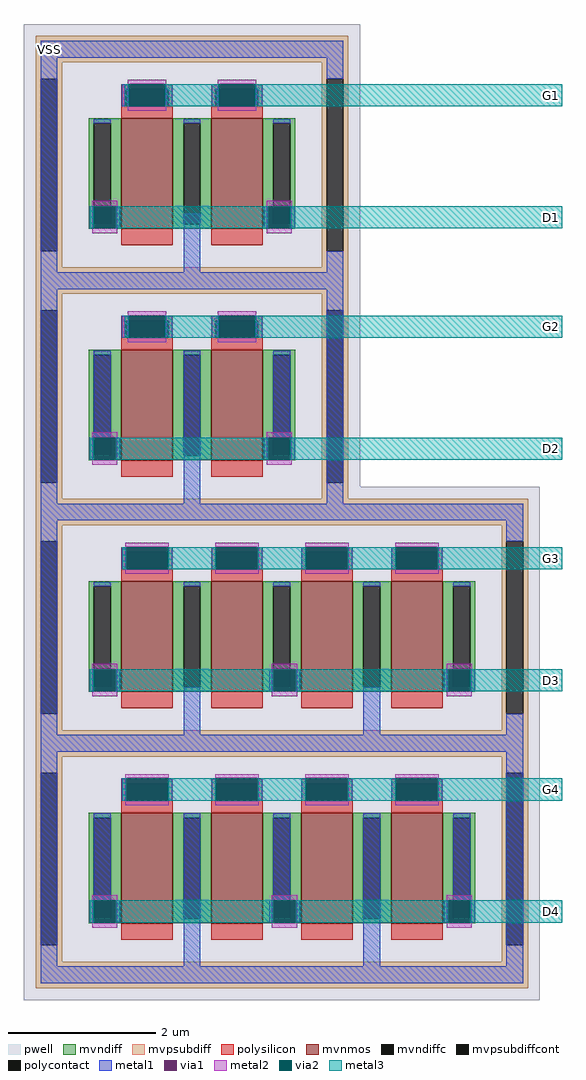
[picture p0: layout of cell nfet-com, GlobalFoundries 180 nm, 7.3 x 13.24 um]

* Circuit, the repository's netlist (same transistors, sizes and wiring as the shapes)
** sch_path: /foss/designs/sscs-chipathon2025-LNA/designs/libs/core_single-fet/nfet-com/nfet-com.sch
.subckt nfet-com D1 G1 D2 G2 D3 G3 D4 G4 VSS
*.PININFO VSS:B D1:B G1:B D2:B G2:B D3:B G3:B D4:B G4:B
M21 D2 G2 VSS VSS nfet_06v0 L=0.70u W=1.50u nf=1 m=2
M22 D1 G1 VSS VSS nfet_06v0 L=0.70u W=1.50u nf=1 m=2
M23 D4 G4 VSS VSS nfet_06v0 L=0.70u W=1.50u nf=1 m=4
M24 D3 G3 VSS VSS nfet_06v0 L=0.70u W=1.50u nf=1 m=4
.ends

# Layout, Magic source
magic
tech gf180mcuD
magscale 1 10
<< metal1 >>
rect -675 47 -629 675
rect -454 497 -436 557
rect -336 497 -318 557
rect -210 497 -192 557
rect -92 497 -74 557
rect -543 166 -531 226
rect -471 166 -459 226
rect -287 47 -241 205
rect -69 166 -57 226
rect 3 166 15 226
rect -675 1 147 47
rect -675 -581 -629 1
rect -454 -131 -436 -71
rect -336 -131 -318 -71
rect -210 -131 -192 -71
rect -92 -131 -74 -71
rect -531 -402 -485 -166
rect -543 -462 -531 -402
rect -471 -462 -459 -402
rect -287 -581 -241 -166
rect -43 -402 3 -166
rect -69 -462 -57 -402
rect 3 -462 15 -402
rect 101 -581 147 1
rect -675 -627 147 -581
rect -675 -1209 -629 -627
rect -455 -759 -443 -699
rect -329 -759 -317 -699
rect -211 -759 -199 -699
rect -85 -759 -73 -699
rect 33 -759 45 -699
rect 159 -759 171 -699
rect 277 -759 289 -699
rect 403 -759 415 -699
rect -543 -1090 -531 -1030
rect -471 -1090 -459 -1030
rect -55 -1090 -43 -1030
rect 17 -1090 29 -1030
rect 419 -1090 431 -1030
rect 491 -1090 503 -1030
rect -287 -1209 -241 -1090
rect 201 -1209 247 -1090
rect -675 -1255 635 -1209
rect -675 -1837 -629 -1255
rect -455 -1387 -443 -1327
rect -329 -1387 -317 -1327
rect -211 -1387 -199 -1327
rect -85 -1387 -73 -1327
rect 33 -1387 45 -1327
rect 159 -1387 171 -1327
rect 277 -1387 289 -1327
rect 403 -1387 415 -1327
rect -531 -1658 -485 -1422
rect -543 -1718 -531 -1658
rect -471 -1718 -459 -1658
rect -287 -1837 -241 -1422
rect -43 -1658 3 -1422
rect -55 -1718 -43 -1658
rect 17 -1718 29 -1658
rect 201 -1837 247 -1422
rect 445 -1658 491 -1422
rect 419 -1718 431 -1658
rect 491 -1718 503 -1658
rect 589 -1837 635 -1255
rect -675 -1883 635 -1837
<< via1 >>
rect -436 497 -336 557
rect -192 497 -92 557
rect -531 166 -471 226
rect -57 166 3 226
rect -436 -131 -336 -71
rect -192 -131 -92 -71
rect -531 -462 -471 -402
rect -57 -462 3 -402
rect -443 -759 -329 -699
rect -199 -759 -85 -699
rect 45 -759 159 -699
rect 289 -759 403 -699
rect -531 -1090 -471 -1030
rect -43 -1090 17 -1030
rect 431 -1090 491 -1030
rect -443 -1387 -329 -1327
rect -199 -1387 -85 -1327
rect 45 -1387 159 -1327
rect 289 -1387 403 -1327
rect -531 -1718 -471 -1658
rect -43 -1718 17 -1658
rect 431 -1718 491 -1658
<< metal2 >>
rect -438 557 -334 569
rect -438 497 -436 557
rect -336 497 -334 557
rect -438 485 -334 497
rect -194 557 -90 569
rect -194 497 -192 557
rect -92 497 -90 557
rect -194 485 -90 497
rect -535 226 -467 240
rect -535 166 -531 226
rect -471 166 -467 226
rect -535 152 -467 166
rect -61 226 7 240
rect -61 166 -57 226
rect 3 166 7 226
rect -61 152 7 166
rect -438 -71 -334 -59
rect -438 -131 -436 -71
rect -336 -131 -334 -71
rect -438 -143 -334 -131
rect -194 -71 -90 -59
rect -194 -131 -192 -71
rect -92 -131 -90 -71
rect -194 -143 -90 -131
rect -535 -402 -467 -388
rect -535 -462 -531 -402
rect -471 -462 -467 -402
rect -535 -476 -467 -462
rect -61 -402 7 -388
rect -61 -462 -57 -402
rect 3 -462 7 -402
rect -61 -476 7 -462
rect -445 -699 -327 -687
rect -445 -759 -443 -699
rect -329 -759 -327 -699
rect -445 -771 -327 -759
rect -201 -699 -83 -687
rect -201 -759 -199 -699
rect -85 -759 -83 -699
rect -201 -771 -83 -759
rect 43 -699 161 -687
rect 43 -759 45 -699
rect 159 -759 161 -699
rect 43 -771 161 -759
rect 287 -699 405 -687
rect 287 -759 289 -699
rect 403 -759 405 -699
rect 287 -771 405 -759
rect -535 -1030 -467 -1016
rect -535 -1090 -531 -1030
rect -471 -1090 -467 -1030
rect -535 -1104 -467 -1090
rect -47 -1030 21 -1016
rect -47 -1090 -43 -1030
rect 17 -1090 21 -1030
rect -47 -1104 21 -1090
rect 427 -1030 495 -1016
rect 427 -1090 431 -1030
rect 491 -1090 495 -1030
rect 427 -1104 495 -1090
rect -445 -1327 -327 -1315
rect -445 -1387 -443 -1327
rect -329 -1387 -327 -1327
rect -445 -1399 -327 -1387
rect -201 -1327 -83 -1315
rect -201 -1387 -199 -1327
rect -85 -1387 -83 -1327
rect -201 -1399 -83 -1387
rect 43 -1327 161 -1315
rect 43 -1387 45 -1327
rect 159 -1387 161 -1327
rect 43 -1399 161 -1387
rect 287 -1327 405 -1315
rect 287 -1387 289 -1327
rect 403 -1387 405 -1327
rect 287 -1399 405 -1387
rect -535 -1658 -467 -1644
rect -535 -1718 -531 -1658
rect -471 -1718 -467 -1658
rect -535 -1732 -467 -1718
rect -47 -1658 21 -1644
rect -47 -1718 -43 -1658
rect 17 -1718 21 -1658
rect -47 -1732 21 -1718
rect 427 -1658 495 -1644
rect 427 -1718 431 -1658
rect 491 -1718 495 -1658
rect 427 -1732 495 -1718
<< via2 >>
rect -436 497 -336 557
rect -192 497 -92 557
rect -531 166 -471 226
rect -57 166 3 226
rect -436 -131 -336 -71
rect -192 -131 -92 -71
rect -531 -462 -471 -402
rect -57 -462 3 -402
rect -443 -759 -329 -699
rect -199 -759 -85 -699
rect 45 -759 159 -699
rect 289 -759 403 -699
rect -531 -1090 -471 -1030
rect -43 -1090 17 -1030
rect 431 -1090 491 -1030
rect -443 -1387 -329 -1327
rect -199 -1387 -85 -1327
rect 45 -1387 159 -1327
rect 289 -1387 403 -1327
rect -531 -1718 -471 -1658
rect -43 -1718 17 -1658
rect 431 -1718 491 -1658
<< metal3 >>
rect -446 497 -436 557
rect -336 497 -192 557
rect -92 497 740 557
rect -541 166 -531 226
rect -471 166 -57 226
rect 3 166 740 226
rect -446 -131 -436 -71
rect -336 -131 -192 -71
rect -92 -131 740 -71
rect -541 -462 -531 -402
rect -471 -462 -57 -402
rect 3 -462 740 -402
rect -453 -759 -443 -699
rect -329 -759 -199 -699
rect -85 -759 45 -699
rect 159 -759 289 -699
rect 403 -759 740 -699
rect -541 -1090 -531 -1030
rect -471 -1090 -43 -1030
rect 17 -1090 431 -1030
rect 491 -1090 740 -1030
rect -453 -1387 -443 -1327
rect -329 -1387 -199 -1327
rect -85 -1387 45 -1327
rect 159 -1387 289 -1327
rect 403 -1387 740 -1327
rect -541 -1718 -531 -1658
rect -471 -1718 -43 -1658
rect 17 -1718 431 -1658
rect 491 -1718 740 -1658
use nfet_06v0_52FGQA  nfet_06v0_52FGQA_0
transform 1 0 -20 0 1 -1546
box -700 -382 700 382
use nfet_06v0_ZZEGQS  nfet_06v0_ZZEGQS_0
transform 1 0 -264 0 1 -290
box -456 -382 456 382
use nfet_06v0_ZZEGQS  XM21
transform 1 0 -264 0 1 338
box -456 -382 456 382
use nfet_06v0_52FGQA  XM23
transform 1 0 -20 0 1 -918
box -700 -382 700 382
<< labels >>
flabel metal3 680 497 740 557 0 FreeSans 320 0 0 0 G1
port 0 nsew
flabel metal3 680 166 740 226 0 FreeSans 320 0 0 0 D1
port 1 nsew
flabel metal3 680 -131 740 -71 0 FreeSans 320 0 0 0 G2
port 2 nsew
flabel metal3 680 -462 740 -402 0 FreeSans 320 0 0 0 D2
port 3 nsew
flabel metal3 680 -759 740 -699 0 FreeSans 320 0 0 0 G3
port 4 nsew
flabel metal3 680 -1090 740 -1030 0 FreeSans 320 0 0 0 D3
port 5 nsew
flabel metal3 680 -1387 740 -1327 0 FreeSans 320 0 0 0 G4
port 6 nsew
flabel metal3 680 -1718 740 -1658 0 FreeSans 320 0 0 0 D4
port 7 nsew
flabel metal1 -675 629 -629 675 0 FreeSans 320 0 0 0 VSS
port 9 nsew
<< end >>

# cell nfet_06v0_52FGQA: kit device nfet_06v0, w 1.5 l 0.7 m 1 nf 4 diffcov 100 polycov 100 guard 1 glc 1 grc 1 gtc 0 gbc 0 tbcov 100 rlcov 100 topc 1 botc 0 poverlap 0 doverlap 1 lmin 0.6 wmin 0.3 class mosfet full_metal 1 compatible {nfet_03v3 nfet_06v0 nfet_06v0_nvt}

# cell nfet_06v0_ZZEGQS: kit device nfet_06v0, w 1.5 l 0.7 m 1 nf 2 diffcov 100 polycov 100 guard 1 glc 1 grc 1 gtc 0 gbc 0 tbcov 100 rlcov 100 topc 1 botc 0 poverlap 0 doverlap 1 lmin 0.6 wmin 0.3 class mosfet full_metal 1 compatible {nfet_03v3 nfet_06v0 nfet_06v0_nvt}
